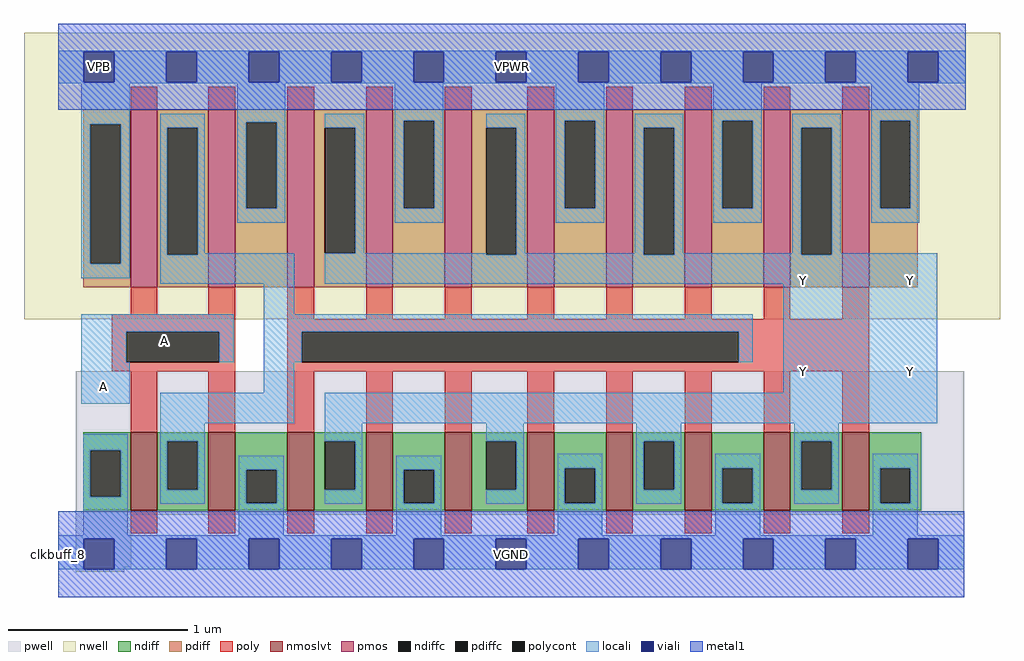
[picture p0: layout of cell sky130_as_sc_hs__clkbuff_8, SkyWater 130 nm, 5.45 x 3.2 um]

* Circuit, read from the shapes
.subckt sky130_as_sc_hs__clkbuff_8 VPB VPWR VGND VNB Y A
XM1 n1 A VGND VNB sky130_fd_pr__nfet_01v8_lvt w=0.435 l=0.15 m=2
XM2 Y n1 VGND VNB sky130_fd_pr__nfet_01v8_lvt w=0.435 l=0.15 m=8
XM3 n1 A VPWR VPB sky130_fd_pr__pfet_01v8 w=0.99 l=0.15 m=2
XM4 Y n1 VPWR VPB sky130_fd_pr__pfet_01v8 w=0.99 l=0.15 m=8
.ends

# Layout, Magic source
magic
tech sky130A
magscale 1 2
<< nwell >>
rect -38 262 1052 582
<< pwell >>
rect 20 44 1012 204
rect 20 -15 82 44
rect 20 -20 74 -15
<< pmos >>
rect 81 298 111 496
rect 168 298 198 496
rect 256 298 286 496
rect 344 298 374 496
rect 432 298 462 496
rect 524 298 554 496
rect 612 298 642 496
rect 700 298 730 496
rect 788 298 818 496
rect 876 298 906 496
<< nmoslvt >>
rect 81 49 111 136
rect 168 49 198 136
rect 256 49 286 136
rect 344 49 374 136
rect 432 49 462 136
rect 524 49 554 136
rect 612 49 642 136
rect 700 49 730 136
rect 788 49 818 136
rect 876 49 906 136
<< ndiff >>
rect 28 116 81 136
rect 28 64 36 116
rect 70 64 81 116
rect 28 49 81 64
rect 111 126 168 136
rect 111 72 122 126
rect 156 72 168 126
rect 111 49 168 72
rect 198 94 256 136
rect 198 57 210 94
rect 244 57 256 94
rect 198 49 256 57
rect 286 126 344 136
rect 286 72 298 126
rect 332 72 344 126
rect 286 49 344 72
rect 374 94 432 136
rect 374 57 386 94
rect 420 57 432 94
rect 374 49 432 57
rect 462 126 524 136
rect 462 72 478 126
rect 512 72 524 126
rect 462 49 524 72
rect 554 96 612 136
rect 554 57 566 96
rect 600 57 612 96
rect 554 49 612 57
rect 642 126 700 136
rect 642 72 654 126
rect 688 72 700 126
rect 642 49 700 72
rect 730 96 788 136
rect 730 57 742 96
rect 776 57 788 96
rect 730 49 788 57
rect 818 126 876 136
rect 818 72 830 126
rect 864 72 876 126
rect 818 49 876 72
rect 906 96 964 136
rect 906 57 918 96
rect 952 57 964 96
rect 906 49 964 57
<< pdiff >>
rect 28 480 81 496
rect 28 324 36 480
rect 70 324 81 480
rect 28 298 81 324
rect 111 476 168 496
rect 111 334 122 476
rect 156 334 168 476
rect 111 298 168 334
rect 198 482 256 496
rect 198 386 210 482
rect 244 386 256 482
rect 198 298 256 386
rect 286 476 344 496
rect 286 336 298 476
rect 332 336 344 476
rect 286 298 344 336
rect 374 484 432 496
rect 374 386 386 484
rect 420 386 432 484
rect 374 298 432 386
rect 462 476 524 496
rect 462 334 478 476
rect 512 334 524 476
rect 462 298 524 334
rect 554 484 612 496
rect 554 386 566 484
rect 600 386 612 484
rect 554 298 612 386
rect 642 476 700 496
rect 642 334 654 476
rect 688 334 700 476
rect 642 298 700 334
rect 730 484 788 496
rect 730 386 742 484
rect 776 386 788 484
rect 730 298 788 386
rect 818 476 876 496
rect 818 334 830 476
rect 864 334 876 476
rect 818 298 876 334
rect 906 484 960 496
rect 906 386 918 484
rect 952 386 960 484
rect 906 298 960 386
<< ndiffc >>
rect 36 64 70 116
rect 122 72 156 126
rect 210 57 244 94
rect 298 72 332 126
rect 386 57 420 94
rect 478 72 512 126
rect 566 57 600 96
rect 654 72 688 126
rect 742 57 776 96
rect 830 72 864 126
rect 918 57 952 96
<< pdiffc >>
rect 36 324 70 480
rect 122 334 156 476
rect 210 386 244 482
rect 298 336 332 476
rect 386 386 420 484
rect 478 334 512 476
rect 566 386 600 484
rect 654 334 688 476
rect 742 386 776 484
rect 830 334 864 476
rect 918 386 952 484
<< poly >>
rect 81 496 111 522
rect 168 496 198 522
rect 256 496 286 522
rect 344 496 374 522
rect 432 496 462 522
rect 524 496 554 522
rect 612 496 642 522
rect 700 496 730 522
rect 788 496 818 522
rect 876 496 906 522
rect 81 268 111 298
rect 168 268 198 298
rect 60 248 198 268
rect 60 214 76 248
rect 180 214 198 248
rect 60 204 198 214
rect 81 136 111 204
rect 168 136 198 204
rect 256 262 286 298
rect 344 262 374 298
rect 432 262 462 298
rect 524 262 554 298
rect 612 262 642 298
rect 700 262 730 298
rect 788 262 818 298
rect 876 262 906 298
rect 256 248 906 262
rect 256 214 272 248
rect 760 214 906 248
rect 256 204 906 214
rect 256 136 286 204
rect 344 136 374 204
rect 432 136 462 204
rect 524 136 554 204
rect 612 136 642 204
rect 700 136 730 204
rect 788 136 818 204
rect 876 136 906 204
rect 81 23 111 49
rect 168 23 198 49
rect 256 23 286 49
rect 344 23 374 49
rect 432 23 462 49
rect 524 23 554 49
rect 612 23 642 49
rect 700 23 730 49
rect 788 23 818 49
rect 876 23 906 49
<< polycont >>
rect 76 214 180 248
rect 272 214 760 248
<< locali >>
rect 0 561 1014 562
rect 0 527 29 561
rect 63 527 121 561
rect 155 527 213 561
rect 247 527 305 561
rect 339 527 397 561
rect 431 527 489 561
rect 523 527 581 561
rect 615 527 673 561
rect 707 527 765 561
rect 799 527 857 561
rect 891 527 949 561
rect 983 527 1014 561
rect 0 526 1014 527
rect 26 480 80 526
rect 26 324 36 480
rect 70 324 80 480
rect 26 308 80 324
rect 114 476 164 492
rect 114 334 122 476
rect 156 336 164 476
rect 200 482 254 526
rect 200 386 210 482
rect 244 386 254 482
rect 200 370 254 386
rect 298 476 342 492
rect 332 336 342 476
rect 376 484 430 526
rect 376 386 386 484
rect 420 386 430 484
rect 376 370 430 386
rect 478 476 522 492
rect 156 334 264 336
rect 114 302 264 334
rect 298 334 478 336
rect 512 336 522 476
rect 556 484 610 526
rect 556 386 566 484
rect 600 386 610 484
rect 556 370 610 386
rect 644 476 698 492
rect 644 336 654 476
rect 512 334 654 336
rect 688 336 698 476
rect 732 484 786 526
rect 732 386 742 484
rect 776 386 786 484
rect 732 370 786 386
rect 820 476 874 492
rect 820 336 830 476
rect 688 334 830 336
rect 864 336 874 476
rect 908 484 962 526
rect 908 386 918 484
rect 952 386 962 484
rect 908 370 962 386
rect 864 334 982 336
rect 298 302 982 334
rect 230 268 264 302
rect 26 248 196 268
rect 26 214 76 248
rect 180 214 196 248
rect 230 248 776 268
rect 230 214 272 248
rect 760 214 776 248
rect 26 168 80 214
rect 230 180 264 214
rect 810 180 982 302
rect 114 146 264 180
rect 298 146 982 180
rect 28 116 78 134
rect 28 64 36 116
rect 70 64 78 116
rect 28 21 78 64
rect 114 126 164 146
rect 114 72 122 126
rect 156 72 164 126
rect 298 126 340 146
rect 114 56 164 72
rect 202 94 252 110
rect 202 57 210 94
rect 244 57 252 94
rect 202 21 252 57
rect 332 72 340 126
rect 478 126 520 146
rect 298 56 340 72
rect 378 94 428 110
rect 378 57 386 94
rect 420 57 428 94
rect 378 21 428 57
rect 512 72 520 126
rect 646 126 696 146
rect 478 56 520 72
rect 558 96 608 112
rect 558 57 566 96
rect 600 57 608 96
rect 558 21 608 57
rect 646 72 654 126
rect 688 72 696 126
rect 822 126 872 146
rect 646 56 696 72
rect 734 96 784 112
rect 734 57 742 96
rect 776 57 784 96
rect 734 21 784 57
rect 822 72 830 126
rect 864 72 872 126
rect 822 56 872 72
rect 910 96 960 112
rect 910 57 918 96
rect 952 57 960 96
rect 910 21 960 57
rect 0 17 1012 21
rect 0 -17 29 17
rect 63 -17 121 17
rect 155 -17 213 17
rect 247 -17 305 17
rect 339 -17 397 17
rect 431 -17 489 17
rect 523 -17 581 17
rect 615 -17 673 17
rect 707 -17 765 17
rect 799 -17 857 17
rect 891 -17 949 17
rect 983 -17 1012 17
<< viali >>
rect 29 527 63 561
rect 121 527 155 561
rect 213 527 247 561
rect 305 527 339 561
rect 397 527 431 561
rect 489 527 523 561
rect 581 527 615 561
rect 673 527 707 561
rect 765 527 799 561
rect 857 527 891 561
rect 949 527 983 561
rect 29 -17 63 17
rect 121 -17 155 17
rect 213 -17 247 17
rect 305 -17 339 17
rect 397 -17 431 17
rect 489 -17 523 17
rect 581 -17 615 17
rect 673 -17 707 17
rect 765 -17 799 17
rect 857 -17 891 17
rect 949 -17 983 17
<< metal1 >>
rect 0 561 1014 592
rect 0 527 29 561
rect 63 527 121 561
rect 155 527 213 561
rect 247 527 305 561
rect 339 527 397 561
rect 431 527 489 561
rect 523 527 581 561
rect 615 527 673 561
rect 707 527 765 561
rect 799 527 857 561
rect 891 527 949 561
rect 983 527 1014 561
rect 0 496 1014 527
rect 0 17 1012 48
rect 0 -17 29 17
rect 63 -17 121 17
rect 155 -17 213 17
rect 247 -17 305 17
rect 339 -17 397 17
rect 431 -17 489 17
rect 523 -17 581 17
rect 615 -17 673 17
rect 707 -17 765 17
rect 799 -17 857 17
rect 891 -17 949 17
rect 983 -17 1012 17
rect 0 -48 1012 -17
<< labels >>
rlabel comment s 0 0 0 0 4 clkbuff_8
flabel pwell s 29 -17 63 17 0 FreeSans 200 0 0 0 VNB
port 4 nsew ground bidirectional
flabel pwell s 46 0 46 0 0 FreeSans 200 0 0 0 VNB
flabel nwell s 29 527 63 561 0 FreeSans 200 0 0 0 VPB
port 1 nsew power bidirectional
flabel nwell s 46 544 46 544 0 FreeSans 200 0 0 0 VPB
flabel metal1 s 29 527 63 561 0 FreeSans 200 0 0 0 VPWR
port 2 nsew power bidirectional abutment
flabel metal1 s 29 -17 63 17 0 FreeSans 200 0 0 0 VGND
port 3 nsew ground bidirectional abutment
rlabel metal1 s 0 -48 1012 48 1 VGND
port 3 nsew ground bidirectional abutment
rlabel metal1 s 0 496 1014 592 1 VPWR
port 2 nsew power bidirectional abutment
flabel locali s 935 187 969 221 0 FreeSans 200 0 0 0 Y
port 5 nsew signal output
flabel locali s 952 204 952 204 0 FreeSans 200 0 0 0 Y
flabel locali s 816 187 850 221 0 FreeSans 200 0 0 0 Y
port 5 nsew signal output
flabel locali s 833 204 833 204 0 FreeSans 200 0 0 0 Y
flabel locali s 816 289 850 323 0 FreeSans 200 0 0 0 Y
port 5 nsew signal output
flabel locali s 833 306 833 306 0 FreeSans 200 0 0 0 Y
flabel locali s 935 289 969 323 0 FreeSans 200 0 0 0 Y
port 5 nsew signal output
flabel locali s 952 306 952 306 0 FreeSans 200 0 0 0 Y
flabel locali s 34 170 68 204 0 FreeSans 200 0 0 0 A
port 6 nsew signal input
flabel locali s 51 187 51 187 0 FreeSans 200 0 0 0 A
flabel locali s 102 221 136 255 0 FreeSans 200 0 0 0 A
port 6 nsew signal input
flabel locali s 119 238 119 238 0 FreeSans 200 0 0 0 A
<< properties >>
string FIXED_BBOX 0 0 1012 544
string GDS_FILE $PDKPATH/libs.ref/sky130_as_sc_hs/gds/sky130_as_sc_hs__clkbuff_8.gds
string LEFclass CORE
string LEFsite unithd
string LEFsymmetry X Y R90
string MASKHINTS_LVTN 0 -4 1012 172
string MASKHINTS_NSDM 0 -38 1012 161
string MASKHINTS_PSDM 0 273 1014 582
<< end >>
